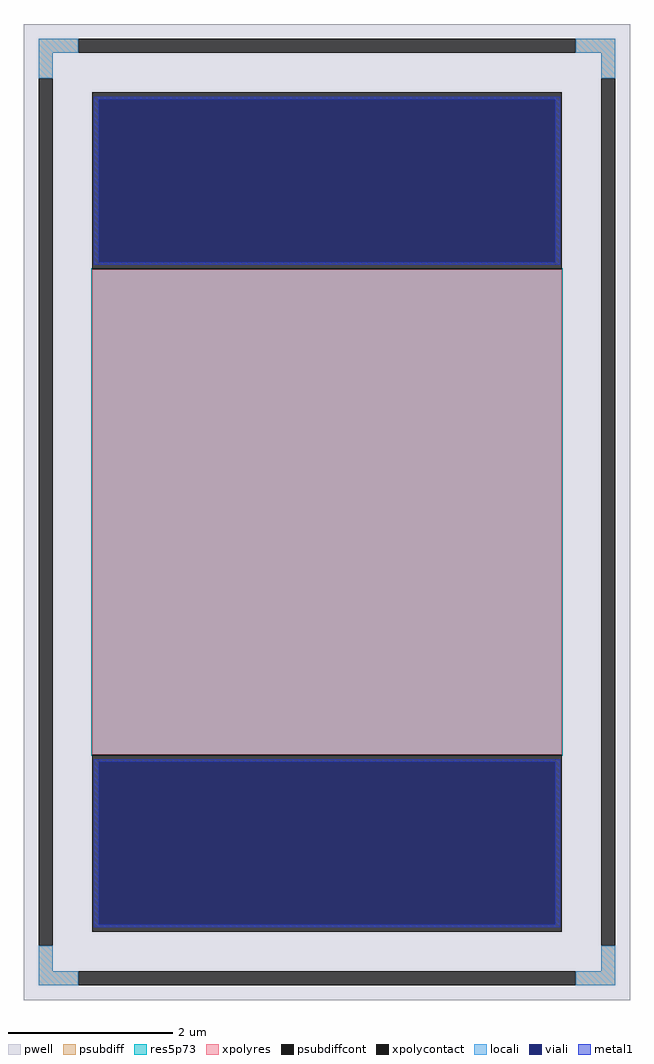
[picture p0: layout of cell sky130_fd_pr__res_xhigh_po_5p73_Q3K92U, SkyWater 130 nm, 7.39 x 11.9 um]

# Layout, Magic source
magic
tech sky130A
magscale 1 2
<< pwell >>
rect -739 -1190 739 1190
<< psubdiff >>
rect -703 1120 -607 1154
rect 607 1120 703 1154
rect -703 1058 -669 1120
rect 669 1058 703 1120
rect -703 -1120 -669 -1058
rect 669 -1120 703 -1058
rect -703 -1154 -607 -1120
rect 607 -1154 703 -1120
<< psubdiffcont >>
rect -607 1120 607 1154
rect -703 -1058 -669 1058
rect 669 -1058 703 1058
rect -607 -1154 607 -1120
<< xpolycontact >>
rect -573 592 573 1024
rect -573 -1024 573 -592
<< xpolyres >>
rect -573 -592 573 592
<< locali >>
rect -703 1120 -607 1154
rect 607 1120 703 1154
rect -703 1058 -669 1120
rect 669 1058 703 1120
rect -703 -1120 -669 -1058
rect 669 -1120 703 -1058
rect -703 -1154 -607 -1120
rect 607 -1154 703 -1120
<< viali >>
rect -557 609 557 1006
rect -557 -1006 557 -609
<< metal1 >>
rect -569 1006 569 1012
rect -569 609 -557 1006
rect 557 609 569 1006
rect -569 603 569 609
rect -569 -609 569 -603
rect -569 -1006 -557 -609
rect 557 -1006 569 -609
rect -569 -1012 569 -1006
<< res5p73 >>
rect -575 -594 575 594
<< properties >>
string FIXED_BBOX -686 -1137 686 1137
string gencell sky130_fd_pr__res_xhigh_po_5p73
string library sky130
string parameters w 5.730 l 5.92 m 1 nx 1 wmin 5.730 lmin 0.50 rho 2000 val 2.132k dummy 0 dw 0.0 term 188.2 sterm 0.0 caplen 0 wmax 5.730 guard 1 glc 1 grc 1 gtc 1 gbc 1 compatible {sky130_fd_pr__res_xhigh_po_0p35  sky130_fd_pr__res_xhigh_po_0p69 sky130_fd_pr__res_xhigh_po_1p41  sky130_fd_pr__res_xhigh_po_2p85 sky130_fd_pr__res_xhigh_po_5p73} full_metal 1 n_guard 0 hv_guard 0 vias 1 viagb 0 viagt 0 viagl 0 viagr 0
<< end >>
